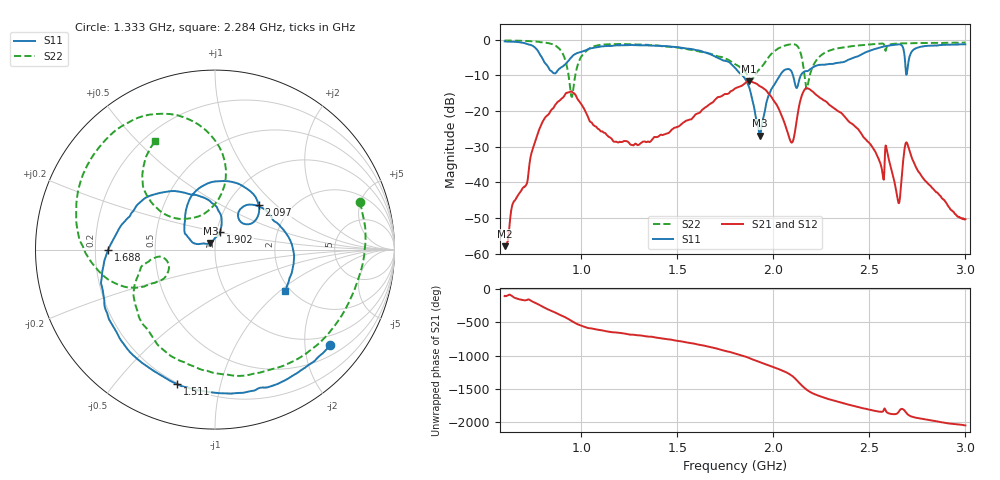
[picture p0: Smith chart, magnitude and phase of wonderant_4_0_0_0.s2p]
#  HZ  S  RI  R  50.00
! Rohde & Schwarz ZVB8 2Ports - Version 2.81 - 1145.1010k08 SN: 100113
! Date: 2016-05-17 22:36:45
! Measurements: S11 S21 S12 S22
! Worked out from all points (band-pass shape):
!   1000 points, 600 MHz to 3 GHz, reference 50 ohm
!   highest |S21| = -11.63 dB at 1.871 GHz (marker M1); lowest = -57.9 dB at 602.4 MHz (marker M2)
!   |S21| within 3 dB of the highest: 1.774 GHz to 1.968 GHz (194.1 MHz wide, 10.4 % of centre); 2.156 GHz to 2.207 GHz (51.18 MHz wide, 2.35 % of centre)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
!   lowest |S11| = -26.9 dB at 1.931 GHz (marker M3), VSWR 1.09, Z = 47.4 + j3.5 ohm
!   |S11| at or under -10 dB: 1.838 GHz to 2.034 GHz (195.6 MHz wide, 10.1 % of centre); 2.102 GHz to 2.143 GHz (40.51 MHz wide, 1.91 % of centre)
!   |S22| runs from -16.1 to -0.2 dB; largest |S21 - S12| = 0.0019
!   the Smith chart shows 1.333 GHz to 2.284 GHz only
!   S11 on the Smith chart (normalised r, x): 1.333 GHz: 0.74, -2.58; 1.511 GHz: 0.19, -0.74; 1.688 GHz: 0.25, -0.00; 1.902 GHz: 1.04, +0.21; 2.097 GHz: 1.39, +0.78; 2.284 GHz: 1.87, -1.08
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6e8  -0.8186 0.4772  -0.000409 -0.00123  -0.000462 -0.00124  -0.9487 0.2288
6.024024e8  -0.8114 0.4874  -0.000491 -0.00118  -0.000491 -0.00117  -0.9456 0.2392
8.258258e8  0.1202 0.4008  0.0554 0.0686  0.0553 0.0688  -0.1945 0.8759
9.099099e8  -0.0552 0.4346  0.0846 -0.1374  0.0853 -0.137  0.4181 0.3976
9.531532e8  -0.0265 0.5882  -0.1172 -0.1415  -0.1169 -0.1418  -0.0472 -0.1588
1.001201e9  0.1789 0.6537  -0.1183 0.0311  -0.1183 0.0306  -0.5154 0.2873
1.130931e9  0.7045 0.4113  0.00591 0.0461  0.00555 0.0462  0.0513 0.8594
1.332733e9  0.6415 -0.5329  0.0368 0.00575  0.0368 0.00593  0.8072 0.264
1.4e9  0.3652 -0.7405  0.0424 -0.0114  0.0426 -0.0114  0.8182 -0.0984
1.510511e9  -0.2102 -0.7498  0.0272 -0.0556  0.0274 -0.0554  0.4992 -0.5856
1.688288e9  -0.5966 -0.00187  -0.1302 -0.0392  -0.13 -0.0399  -0.324 -0.5245
1.801201e9  -0.2335 0.3263  -0.073 0.1947  -0.0737 0.1942  -0.4291 -0.1441
1.870871e9  0.0154 0.2241  0.1853 0.1856  0.1846 0.1864  -0.2913 -0.0434
1.902102e9  0.0283 0.0993  0.244 0.0449  0.2435 0.046  -0.2728 -0.1469
1.930931e9  -0.0259 0.0369  0.2093 -0.0741  0.2095 -0.073  -0.3476 -0.1874
2.096697e9  0.2434 0.2483  -0.0261 0.0251  -0.0264 0.0249  -0.6179 0.6024
2.151952e9  0.2428 0.2417  0.166 -0.0605  0.1661 -0.0597  0.0554 0.4885
2.2e9  0.386 0.1047  -0.0951 -0.1661  -0.0946 -0.1665  -0.3195 0.2273
2.284084e9  0.39 -0.2307  -0.1103 0.0646  -0.1107 0.0642  -0.3344 0.6032
2.601201e9  -0.5531 -0.6132  0.00837 -0.0192  0.0085 -0.0192  0.6954 0.482
2.649249e9  -0.7684 -0.3863  0.00304 -0.00456  0.00306 -0.00455  0.8217 0.3216
3e9  -0.6524 0.5595  -0.00114 0.00283  -0.00114 0.00278  0.544 -0.7309
